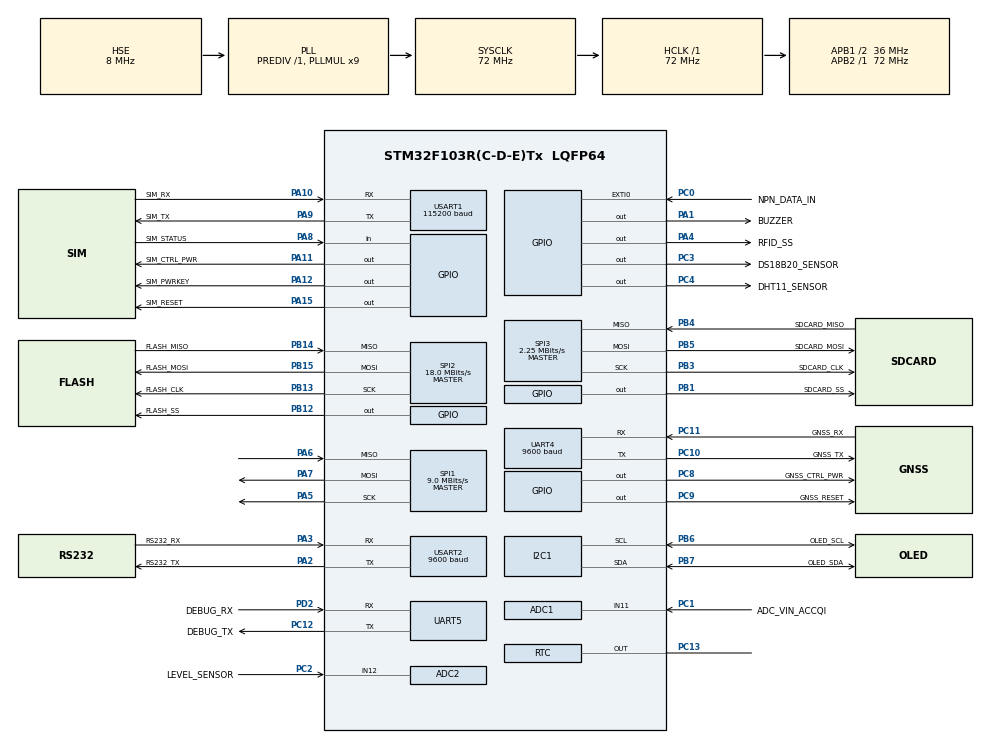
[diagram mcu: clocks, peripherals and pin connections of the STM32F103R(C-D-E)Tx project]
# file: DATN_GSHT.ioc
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ADC1.Channel-1\#ChannelRegularConversion=ADC_CHANNEL_11
ADC1.ContinuousConvMode=ENABLE
ADC1.NbrOfConversionFlag=1
ADC1.Rank-1\#ChannelRegularConversion=1
ADC1.SamplingTime-1\#ChannelRegularConversion=ADC_SAMPLETIME_28CYCLES_5
ADC1.master=1
ADC2.Channel-0\#ChannelRegularConversion=ADC_CHANNEL_12
ADC2.ContinuousConvMode=ENABLE
ADC2.NbrOfConversionFlag=1
ADC2.Rank-0\#ChannelRegularConversion=1
ADC2.SamplingTime-0\#ChannelRegularConversion=ADC_SAMPLETIME_41CYCLES_5
FATFS._MAX_SS=4096
FATFS._USE_LFN=1
I2C1.I2C_Mode=I2C_Fast
Mcu.Family=STM32F1
Mcu.Name=STM32F103R(C-D-E)Tx
Mcu.Package=LQFP64
NVIC.PriorityGroup=NVIC_PRIORITYGROUP_4
NVIC.RTC_Alarm_IRQn=true\:0\:0\:false\:false\:true\:true\:true\:true
NVIC.TIM2_IRQn=true\:0\:0\:false\:false\:true\:true\:true\:true
NVIC.TIM3_IRQn=true\:1\:0\:true\:false\:true\:true\:true\:true
NVIC.UART4_IRQn=true\:3\:0\:true\:false\:true\:true\:true\:true
NVIC.USART1_IRQn=true\:2\:0\:true\:false\:true\:true\:true\:true
NVIC.USART2_IRQn=true\:0\:0\:false\:false\:true\:true\:true\:true
PA0-WKUP.Mode=SYS_WakeUp0
PA0-WKUP.Signal=SYS_WKUP
PA1.GPIO_Label=BUZZER
PA1.Signal=GPIO_Output
PA10.GPIO_Label=SIM_RX
PA10.Mode=Asynchronous
PA10.Signal=USART1_RX
PA11.GPIO_Label=SIM_CTRL_PWR
PA11.PinState=GPIO_PIN_SET
PA11.Signal=GPIO_Output
PA12.GPIO_Label=SIM_PWRKEY
PA12.Signal=GPIO_Output
PA13.Mode=Serial_Wire
PA13.Signal=SYS_JTMS-SWDIO
PA14.Mode=Serial_Wire
PA14.Signal=SYS_JTCK-SWCLK
PA15.GPIO_Label=SIM_RESET
PA15.Signal=GPIO_Output
PA2.GPIO_Label=RS232_TX
PA2.Mode=Asynchronous
PA2.Signal=USART2_TX
PA3.GPIO_Label=RS232_RX
PA3.Mode=Asynchronous
PA3.Signal=USART2_RX
PA4.GPIO_Label=RFID_SS
PA4.PinState=GPIO_PIN_SET
PA4.Signal=GPIO_Output
PA5.GPIO_Mode=GPIO_MODE_AF_PP
PA5.GPIO_Speed=GPIO_SPEED_FREQ_HIGH
PA5.Mode=Full_Duplex_Master
PA5.Signal=SPI1_SCK
PA6.GPIO_Mode=GPIO_MODE_INPUT
PA6.GPIO_PuPd=GPIO_NOPULL
PA6.Mode=Full_Duplex_Master
PA6.Signal=SPI1_MISO
PA7.GPIO_Mode=GPIO_MODE_AF_PP
PA7.GPIO_Speed=GPIO_SPEED_FREQ_HIGH
PA7.Mode=Full_Duplex_Master
PA7.Signal=SPI1_MOSI
PA8.GPIO_Label=SIM_STATUS
PA8.Signal=GPIO_Input
PA9.GPIO_Label=SIM_TX
PA9.Mode=Asynchronous
PA9.Signal=USART1_TX
PB1.GPIO_Label=SDCARD_SS
PB1.Signal=GPIO_Output
PB12.GPIO_Label=FLASH_SS
PB12.Signal=GPIO_Output
PB13.GPIO_Label=FLASH_CLK
PB13.Mode=Full_Duplex_Master
PB13.Signal=SPI2_SCK
PB14.GPIO_Label=FLASH_MISO
PB14.Mode=Full_Duplex_Master
PB14.Signal=SPI2_MISO
PB15.GPIO_Label=FLASH_MOSI
PB15.Mode=Full_Duplex_Master
PB15.Signal=SPI2_MOSI
PB3.GPIO_Label=SDCARD_CLK
PB3.Mode=Full_Duplex_Master
PB3.Signal=SPI3_SCK
PB4.GPIO_Label=SDCARD_MISO
PB4.Mode=Full_Duplex_Master
PB4.Signal=SPI3_MISO
PB5.GPIO_Label=SDCARD_MOSI
PB5.Mode=Full_Duplex_Master
PB5.Signal=SPI3_MOSI
PB6.GPIO_Label=OLED_SCL
PB6.Mode=I2C
PB6.Signal=I2C1_SCL
PB7.GPIO_Label=OLED_SDA
PB7.Mode=I2C
PB7.Signal=I2C1_SDA
PC0.GPIO_Label=NPN_DATA_IN
PC0.GPIO_ModeDefaultEXTI=GPIO_MODE_IT_RISING_FALLING
PC0.Signal=GPXTI0
PC1.GPIO_Label=ADC_VIN_ACCQI
PC1.Signal=ADCx_IN11
PC10.GPIO_Label=GNSS_TX
PC10.Mode=Asynchronous
PC10.Signal=UART4_TX
PC11.GPIO_Label=GNSS_RX
PC11.Mode=Asynchronous
PC11.Signal=UART4_RX
PC12.GPIO_Label=DEBUG_TX
PC12.Mode=Asynchronous
PC12.Signal=UART5_TX
PC13-TAMPER-RTC.Mode=RTC OUT
PC13-TAMPER-RTC.Signal=RTC_OUT
PC14-OSC32_IN.Mode=LSE-External-Oscillator
PC14-OSC32_IN.Signal=RCC_OSC32_IN
PC15-OSC32_OUT.Mode=LSE-External-Oscillator
PC15-OSC32_OUT.Signal=RCC_OSC32_OUT
PC2.GPIO_Label=LEVEL_SENSOR
PC2.Signal=ADCx_IN12
PC3.GPIO_Label=DS18B20_SENSOR
PC3.Signal=GPIO_Output
PC4.GPIO_Label=DHT11_SENSOR
PC4.Signal=GPIO_Output
PC8.GPIO_Label=GNSS_CTRL_PWR
PC8.Signal=GPIO_Output
PC9.GPIO_Label=GNSS_RESET
PC9.Signal=GPIO_Output
PD0-OSC_IN.Mode=HSE-External-Oscillator
PD0-OSC_IN.Signal=RCC_OSC_IN
PD1-OSC_OUT.Mode=HSE-External-Oscillator
PD1-OSC_OUT.Signal=RCC_OSC_OUT
PD2.GPIO_Label=DEBUG_RX
PD2.Mode=Asynchronous
PD2.Signal=UART5_RX
ProjectManager.HeapSize=0x200
ProjectManager.StackSize=0x400
ProjectManager.TargetToolchain=Makefile
RCC.ADCPresc=RCC_ADCPCLK2_DIV6
RCC.AHBFreq_Value=72000000
RCC.APB1CLKDivider=RCC_HCLK_DIV2
RCC.APB1Freq_Value=36000000
RCC.APB1TimFreq_Value=72000000
RCC.APB2Freq_Value=72000000
RCC.APB2TimFreq_Value=72000000
RCC.HCLKFreq_Value=72000000
RCC.PLLMUL=RCC_PLL_MUL9
RCC.PLLSourceVirtual=RCC_PLLSOURCE_HSE
RCC.RTCClockSelection=RCC_RTCCLKSOURCE_LSE
RCC.SYSCLKFreq_VALUE=72000000
RCC.SYSCLKSource=RCC_SYSCLKSOURCE_PLLCLK
RCC.USBFreq_Value=72000000
RTC.Hours=10
RTC.Year=23
SH.ADCx_IN11.0=ADC1_IN11,IN11
SH.ADCx_IN12.0=ADC2_IN12,IN12
SPI1.BaudRatePrescaler=SPI_BAUDRATEPRESCALER_8
SPI1.CalculateBaudRate=9.0 MBits/s
SPI1.Direction=SPI_DIRECTION_2LINES
SPI1.Mode=SPI_MODE_MASTER
SPI1.VirtualType=VM_MASTER
SPI2.CalculateBaudRate=18.0 MBits/s
SPI2.Direction=SPI_DIRECTION_2LINES
SPI2.Mode=SPI_MODE_MASTER
SPI2.VirtualType=VM_MASTER
SPI3.BaudRatePrescaler=SPI_BAUDRATEPRESCALER_16
SPI3.CalculateBaudRate=2.25 MBits/s
SPI3.Direction=SPI_DIRECTION_2LINES
SPI3.Mode=SPI_MODE_MASTER
SPI3.VirtualType=VM_MASTER
TIM1.Prescaler=72-1
TIM2.Period=5000
TIM2.Prescaler=7200-1
TIM3.Period=60000
TIM3.Prescaler=7200-1
UART4.BaudRate=9600
UART4.VirtualMode=Asynchronous
UART5.VirtualMode=Asynchronous
USART1.BaudRate=115200
USART1.VirtualMode=VM_ASYNC
USART2.BaudRate=9600
USART2.VirtualMode=VM_ASYNC
VP_FATFS_VS_Generic.Mode=User_defined
VP_RTC_VS_RTC_Activate.Mode=RTC_Enabled
VP_RTC_VS_RTC_Calendar.Mode=RTC_Calendar
VP_TIM1_VS_ClockSourceINT.Mode=Internal
VP_TIM2_VS_ClockSourceINT.Mode=Internal
VP_TIM3_VS_ClockSourceINT.Mode=Internal
board=custom

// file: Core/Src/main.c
/* USER CODE BEGIN Header */
/**
  ******************************************************************************
  * @file           : main.c
  * @brief          : Main program body
  ******************************************************************************
  * @attention
  *
  * Copyright (c) 2023 STMicroelectronics.
  * All rights reserved.
  *
  * This software is licensed under terms that can be found in the LICENSE file
  * in the root directory of this software component.
  * If no LICENSE file comes with this software, it is provided AS-IS.
  *
  ******************************************************************************
  SIM   ------> UART1 115200
  RS232 ------> UART2 9600
  GNSS  ------> UART4 9600
  DEBUG ------> UART5 115200

  RFID  ------> SPI1  18Mb/s
  SDCAD ------> SPI3
  FLASH ------> SPI2

  SENSOR -----> TIM1
  RFID      --> TIM2
  Task     ---> TIM3
  */
/* USER CODE END Header */
#include "main.h"
#include "adc.h"
#include "fatfs.h"
#include "i2c.h"
#include "rtc.h"
#include "spi.h"
#include "tim.h"
#include "usart.h"
#include "gpio.h"

/* USER CODE BEGIN Includes */
#include "sensors.h"
#include "rc522.h"
#include "debug.h"
#include "sim4g_lte.h"
#include "gnss.h"
#include "fatfs_sd.h"
#include "mqtt.h"
#include "flash.h"
#include "ssd1306.h"
#include "bitmap.h"

#include <stdio.h>
#include <stdint.h>
#include <string.h>
/* USER CODE END Includes */

/* USER CODE BEGIN PV */
/************************************RFID*********************/
uint8_t CardID[5];
char szBuff[20];
volatile bool waiting4LogOut = false;
volatile bool Logout = false;
enum check
{
  CHANGE,
  NOT_CHANGE
};

volatile int npn_flag_check = NOT_CHANGE;
int npn_count = 0;

enum State
{
  Stop,
  Move
};

int Vehical_State;

float current_time, last_time;
float Vehical_veloc;

/************************************RTC************************/
RTC_TimeTypeDef current_sTime = {0};
RTC_DateTypeDef current_sDate = {0};
RTC_TimeTypeDef last_sTime = {0};
RTC_DateTypeDef last_sDate = {0};
RTC_AlarmTypeDef sAlarm = {0};
uint8_t sencond = 0;
uint8_t minute = 0;
uint8_t hour = 0;
uint8_t date = 0;
uint8_t day = 0;
uint8_t month = 0;
uint8_t year = 0;
char time_buff[20];
char date_buff[20];
volatile int check = 0;

uint16_t totalMinute_OperateTime;
int time_hour;
int time_minute;
char totalMinute_OperateTime_buff[30] = {0};

int numCheck_time = 0;
char utctime_buff[10]={0};
/*********************************** GPS************************/
#define GPS 0
char *GPSResponse;
char latData[15] = {0};
char longData[15] = {0};
char simMessage[200] = {0};

char l70Data1;
char gnss_str[100] = {0};
extern l70Data_t l70DataAfterHadler;

/************************************* SDCARD*******************/
#define SDCard 0
FATFS fs;                      // file system
FIL fil;                       // file
FRESULT fresult;               // store the result
char SD_buffer_w[1024] = {0};  // write data
char SD_buffer_r[10224] = {0}; // read data
char SD_file_name[50] = {0};
UINT br, bw; // file read.write count

FATFS *pfs;
DWORD fre_clust;
uint32_t total, free_space;
char SD_read[256];

/**************************************SIM 4G***************************/
#define SIM 0
// typedef struct
// {
//   char online[2];
//   char offline[2];
//   char sleep[2];
//   char deviceID[20];
//   char license[20];
//   char name[50];
//   char phone[20];
//   char signal[20];
// } dataPubTB_t;
typedef struct
{
  char online[2];
  char offline[2];
  char sleep[2];
  char signal[5];
} stateDevice_t;
stateDevice_t stateDevice;
char Json_Data[500] = {0};
/**************************************RFID*****************************/
uint8_t CardID[5] = {0};
char Card_Startbuff[20] = {0};
char Card_Endbuff[20] = {0};
char *id_ref = "";
typedef struct
{
  char ID[20];      // id     64C43951
  char name[20];    // ABC
  char license[10]; // A1 A2...
  char phoneNum[20];
  char deviceID[20]; // plates license
} infoRFID_t;
infoRFID_t infoUser, infoUser1, infoUser2;

/***************************************TASK**************************/
enum
{
  Task_Sensors,
  Task_GNSS,
  Task_SIM,
  Task_Store,
  Task_Display,
  Task_LogoutOrRS232
};
volatile int Type_Task = Task_Display;
typedef struct
{
  volatile bool TaskSensors;
  volatile bool TaskGNSS;
  volatile bool TaskSIM;
  volatile bool TaskStore;
  volatile bool TaskDisplay;
} TaskPerform_t;

TaskPerform_t Taskperform = {
    .TaskSensors = false,
    .TaskGNSS = false,
    .TaskSIM = false,
    .TaskStore = false,
    .TaskDisplay = false,
};
#define SWITCH_CASE 1
#define IF_SIUTATION 0
enum
{
  Normal_Mode,
  IRQ_Mode
};
volatile int Task_Mode = Normal_Mode;
/*****************************************SENSOR*************************/
int ds18_temp;
float dht_temp;
float dht_hum;

typedef struct
{
  char ds18_buff[5];
  char dhtTemp_buff[50];
  char dhtHum_buff[50];
  char fuel[5];
} sensors_t;
sensors_t sensors;
/*******************************************FLASH***********************/
#define FLASH_ADDRESS_BASE 0x00000000
uint8_t flash_Readbuff[1024] = {0};
/******************************************RS232************************/
char rs232_data;
char rs232_buff[50] = {0};
int rs232_index = 0;
volatile bool rs232_flag = false;
/* USER CODE END PV */

void SystemClock_Config(void);

/* USER CODE BEGIN 0 */
void rs232_logdata(char *str)
{
  HAL_UART_Transmit(&huart2, (uint8_t *)str, strlen(str), 5000);
}

void buzzer(long time)
{
  HAL_GPIO_WritePin(BUZZER_GPIO_Port, BUZZER_Pin, GPIO_PIN_SET);
  HAL_Delay(time);
  HAL_GPIO_WritePin(BUZZER_GPIO_Port, BUZZER_Pin, GPIO_PIN_RESET);
}

void set_alarm(int intervalHour)
{
  RTC_AlarmTypeDef sAlarm = {0};
  sAlarm.AlarmTime.Hours = current_sTime.Hours + intervalHour;
  sAlarm.AlarmTime.Minutes = current_sTime.Minutes;
  sAlarm.AlarmTime.Seconds = current_sTime.Seconds;
  sAlarm.Alarm = RTC_ALARM_A;
  if (HAL_RTC_SetAlarm_IT(&hrtc, &sAlarm, RTC_FORMAT_BIN) != HAL_OK)
  {
    Error_Handler();
  }
}

void set_timer(long time)
{
  TIM3->CNT = 60000 - time * 10;
}

void HAL_RTC_AlarmAEventCallback(RTC_HandleTypeDef *hrtc)
{
  // warning and SMS
  buzzer(5000);
  sim7672_sendSMS(infoUser.phoneNum, "Lai xe qua thoi gian cho phep, xin dung lai");
}

void HAL_UART_RxCpltCallback(UART_HandleTypeDef *huart)
{
  // for SIM
  if (huart == &huart1)
  {
    sim7672_callback();
  }
  // for GPS
  if (huart == &huart4)
  {
    l70_callback();
  }
  // for RS232
  if (huart == &huart2)
  {
    Type_Task = Task_LogoutOrRS232;
    rs232_buff[rs232_index] = rs232_data;
    if (strstr(rs232_buff, "Trichxuatdulieu") != NULL)
    {
      rs232_logdata("OK");
      rs232_flag = true;
    }
    rs232_index++;
    HAL_UART_Receive_IT(&huart2, (uint8_t *)&rs232_data, 1);
  }
}

void HAL_GPIO_EXTI_Callback(uint16_t GPIO_Pin)
{
  // reset timer 2
  HAL_TIM_Base_Stop(&htim2);
  TIM2->CNT = 0;

  current_time = HAL_GetTick();

  npn_flag_check = CHANGE;
  Vehical_State = Move;
  npn_count++;
  if (npn_count == 20)
  {
    float time_cycle = current_time - last_time;
    Vehical_veloc = (1.0 * 3000) / (time_cycle);
    // tinh toan van toc
  }
  // start timer2
  HAL_TIM_Base_Start_IT(&htim2);
}

void HAL_TIM_PeriodElapsedCallback(TIM_HandleTypeDef *htim)
{
  if (htim == &htim2)
  {
    if (rc522_check(CardID) == RC522_OK && waiting4LogOut == true)
    {
      waiting4LogOut = false;
      Type_Task = Task_LogoutOrRS232;
      Logout = true;
    }
  }
  if (htim == &htim3)
  {
    if (Type_Task == Task_Sensors)
    {
      Taskperform.TaskSensors = false;
      Type_Task = Task_GNSS;
      set_timer(200);
      return;
    }
    if (Type_Task == Task_GNSS)
    {
      Taskperform.TaskGNSS = false;
      Type_Task = Task_SIM;
      set_timer(1200);
      return;
    }
    if (Type_Task == Task_SIM)
    {
      Taskperform.TaskSIM = false;
      Type_Task = Task_Store;
      set_timer(200);
      return;
    }
    if (Type_Task == Task_Store)
    {
      Taskperform.TaskStore = false;
      Type_Task = Task_Display;
      set_timer(200);
      return;
    }
    if (Type_Task == Task_Display)
    {
      Taskperform.TaskDisplay = false;
      Type_Task = Task_Sensors;
      set_timer(100);
      return;
    }
  }
}

/* USER CODE END 0 */

int main(void)
{

  /* MCU Configuration--------------------------------------------------------*/

  /* Reset of all peripherals, Initializes the Flash interface and the Systick. */
  HAL_Init();

  /* Configure the system clock */
  SystemClock_Config();

  /* Initialize all configured peripherals */
  MX_GPIO_Init();
  MX_ADC1_Init();
  MX_SPI1_Init();
  MX_ADC2_Init();
  MX_TIM1_Init();
  MX_UART5_Init();
  MX_I2C1_Init();
  MX_SPI2_Init();
  MX_SPI3_Init();
  MX_UART4_Init();
  MX_USART1_UART_Init();
  MX_USART2_UART_Init();
  MX_TIM2_Init();
  MX_TIM3_Init();
  MX_RTC_Init();
  MX_FATFS_Init();
  /* USER CODE BEGIN 2 */
  log_data("\nGSHT START\n");
  // init all
  rc522_init();
  log_data("RFID init successfull\n");
  HAL_Delay(10);

  l70_init();
  log_data("GNSS init successfull\n");
  HAL_Delay(500);

  // sim7672_pwrOn();
  // HAL_Delay(4000);
   sim7672_init();
   sim7672_check_signalStrength();
  //  mqtt_disconnectServer();
  //  HAL_Delay(100);
   mqtt_connectServer();
   HAL_Delay(100);

  // w25q32_init();
  // log_data("FLASH init successfull\n");

  SSD1306_Init();

  SSD1306_Clear();
  SSD1306_DrawBitmap(0, 0, bitmap, 128, 64, 1);
  SSD1306_GotoXY(75, 2);
  SSD1306_Puts("2:53", &Font_7x10, 1);
  SSD1306_GotoXY(30, 16);
  SSD1306_Puts("1/1/2023", &Font_7x10, 1);
  SSD1306_GotoXY(1, 28);
  SSD1306_Puts("Lon:            E", &Font_7x10, 1);
  SSD1306_GotoXY(1, 40);
  SSD1306_Puts("Lat:           N", &Font_7x10, 1);
  SSD1306_GotoXY(1, 52);
  SSD1306_Puts("Speed:      m/s", &Font_7x10, 1);
  SSD1306_UpdateScreen();

  fresult = f_mount(&fs, "/", 1);
  if (fresult != FR_OK)
    log_data("ERROR!!! in mounting SD CARD...\n\n");
  else
    log_data("SD CARD mounted successfully...\n\n");
  // Read data FLASH
  strcpy(stateDevice.online, "1");
  strcpy(stateDevice.offline, "0");
  strcpy(stateDevice.sleep, "0");
  strcpy(stateDevice.signal, "OK");

  strcpy(infoUser1.ID, "64C43951");
  strcpy(infoUser1.name, "Nguyen_Huy_Hoang");
  strcpy(infoUser1.phoneNum, "VIE_0987035442");
  strcpy(infoUser1.license, "30N-1234");

  strcpy(infoUser2.ID, "1243");
  strcpy(infoUser2.name, "Nguyen_Van_A");
  strcpy(infoUser2.phoneNum, "VIE_0123562571");
  strcpy(infoUser2.license, "30N-3611");

  strcpy(infoUser.deviceID, "GSHT_ID01");
  // READ TAG RFID
  while (strcmp(infoUser1.ID, Card_Startbuff) != 0 || strcmp(infoUser2.ID, Card_Startbuff) != 0)
  {
    // log_data("wait\n");
    if (rc522_check(CardID) == RC522_OK)
    {
      sprintf(Card_Startbuff, "%02X%02X%02X%02X", CardID[0], CardID[1], CardID[2], CardID[3]);
      log_data(Card_Startbuff);
      if (strcmp(infoUser1.ID, Card_Startbuff) == 0)
      {
        waiting4LogOut = true;
        strcpy(infoUser.ID, infoUser1.ID);
        strcpy(infoUser.name, infoUser1.name);
        strcpy(infoUser.phoneNum, infoUser1.phoneNum);
        strcpy(infoUser.license, infoUser1.license);
        buzzer(200);
        // HAL_Delay(200);
        // buzzer(200);
        log_data("ID1 TAG valid\n");
      }
      if (strcmp(infoUser2.ID, Card_Startbuff) == 0)
      {
        waiting4LogOut = true;
        strcpy(infoUser.ID, infoUser2.ID);
        strcpy(infoUser.name, infoUser2.name);
        strcpy(infoUser.phoneNum, infoUser2.phoneNum);
        strcpy(infoUser.license, infoUser2.license);
        buzzer(200);
        // HAL_Delay(200);
        // buzzer(200);
        log_data("ID2 TAG valid\n");
      }
      else
      {
        // waiting4LogOut = true;
        buzzer(200);
        HAL_Delay(200);
        buzzer(200);
        log_data("ID TAG invalid\n");
        break;
      }
    }
  }
  // collect time at having RFID TAG
  HAL_RTC_GetTime(&hrtc, &current_sTime, RTC_FORMAT_BIN);
  HAL_RTC_GetDate(&hrtc, &current_sDate, RTC_FORMAT_BIN);
  set_alarm(4);
  sprintf(time_buff, "%d:%d:%d", current_sTime.Hours, current_sTime.Minutes, current_sTime.Seconds);
  log_data(time_buff);
  log_data("\n");
  sprintf(date_buff, "%d/%d/%d", current_sDate.Date, current_sDate.Month, current_sDate.Year);
  log_data(date_buff);
  log_data("\n");
  HAL_RTC_GetTime(&hrtc, &last_sTime, RTC_FORMAT_BIN);
  HAL_RTC_GetDate(&hrtc, &last_sDate, RTC_FORMAT_BIN);
  totalMinute_OperateTime = (60 * last_sTime.Hours + last_sTime.Minutes) - (60 * current_sTime.Hours + current_sTime.Minutes);
  time_hour = totalMinute_OperateTime / 60;
  time_minute = totalMinute_OperateTime - time_hour * 60;
  sprintf(totalMinute_OperateTime_buff, "%dh%d", time_hour, time_minute);
  // wait for gps
  do
  {
    GPSResponse = l70_receiveGPS();
    l70_handleGPS(GPSResponse);
    HAL_Delay(1000);
  } while (strstr(l70DataAfterHadler.latitude, ".000000") != NULL && strstr(l70DataAfterHadler.longitude, ".000000") != NULL);
  log_data("\nGSHT Start\n");
  // Check ID tag in Flash

  set_timer(500);
  HAL_TIM_Base_Start_IT(&htim3); // Task
  HAL_TIM_Base_Start(&htim1);    // Sensors
  HAL_TIM_Base_Start_IT(&htim2); // RFID
  // set_timer(1000);
  HAL_UART_Receive_IT(&huart2, (uint8_t *)&rs232_data, 1);
  /* USER CODE END 2 */

  /* Infinite loop */
  while (1)
  {

    /* USER CODE BEGIN 3 */
#if SWITCH_CASE
    switch (Type_Task)
    {
    case Task_Sensors:
      if (!Taskperform.TaskSensors)
      {
        log_data("TAKS SENSORS\n");
        Taskperform.TaskSensors = true;
        ds18_temp = (int)DS18B20_Result();
        // DHT11_Result(dht_temp, dht_hum);
        sprintf(sensors.ds18_buff, "%d", ds18_temp);
        // sprintf(sensors.dhtTemp_buff,"%d",(int)dht_temp);
        // sprintf(sensors.dhtHum_buff,"%d",(int)dht_hum);
        // ftoa(ds18_temp, ds18_buff, 1);
        //  w25q32_pageWrite(0x00000000,ds18_buff);
        //  ftoa(dht_temp, dhtTemp_buff, 1);
        //  ftoa(dht_hum, dhtHum_buff, 1);
        strcpy(sensors.dhtTemp_buff, "20");
        strcpy(sensors.dhtHum_buff, "80");
        // log_data("Nhiet do va do am moi truong: ");
        // log_data(sensors.dhtTemp_buff);
        // log_data("\n");
        // log_data(sensors.dhtHum_buff);
        // log_data("\n");
        strcpy(sensors.fuel, "80");
        log_data("Nhiet do thiet bi: ");
        log_data(sensors.ds18_buff);
        log_data("\n");
      }
      break;
    case Task_GNSS:
      if (!Taskperform.TaskGNSS)
      {
        log_data("TAKS GNSS\n");
        Taskperform.TaskGNSS = true;
        GPSResponse = l70_receiveGPS();
        l70_handleGPS(GPSResponse);
      }
      break;
    case Task_SIM:
      if (!Taskperform.TaskSIM)
      {
        log_data("TAKS SIM\n");
        Taskperform.TaskSIM = true;
        memset(Json_Data,'\0',sizeof(Json_Data));
        sprintf(totalMinute_OperateTime_buff, "%dh%d", time_hour, time_minute);
        sprintf(Json_Data, "{\"online\":%s,\"offline\":%s,\"sleep\":%s,\"deviceID\":%s,\"license\":%s,\"name\":%s,\"phone\":%s,\"signal\":%s,\"latitude\":%s,\"longitude\":%s,\"ds18b20\":%s,\"dhttemp\":%s,\"dhthum\":%s,\"fuel\":%s,\"timetotal\":%s,\"speed\":%s}",
                stateDevice.online, stateDevice.offline, stateDevice.sleep, infoUser.deviceID, infoUser.license, infoUser.name, infoUser.phoneNum,
                stateDevice.signal, l70DataAfterHadler.latitude, l70DataAfterHadler.longitude, sensors.ds18_buff, sensors.dhtTemp_buff,
                sensors.dhtHum_buff, sensors.fuel,totalMinute_OperateTime_buff,l70DataAfterHadler.Speed);
        mqtt_pub(TOPIC, Json_Data);
        numCheck_time++;
        if (numCheck_time == 10)
        {
          numCheck_time = 0;
          HAL_RTC_GetTime(&hrtc, &last_sTime, RTC_FORMAT_BIN);
          HAL_RTC_GetDate(&hrtc, &last_sDate, RTC_FORMAT_BIN);
          totalMinute_OperateTime = (60 * last_sTime.Hours + last_sTime.Minutes) - (60 * current_sTime.Hours + current_sTime.Minutes);
          time_hour = totalMinute_OperateTime / 60;
          time_minute = totalMinute_OperateTime - time_hour * 60;
          sprintf(totalMinute_OperateTime_buff, "%dh%d", time_hour, time_minute);
          log_data("\nTotal time: ");
          log_data(totalMinute_OperateTime_buff);
          log_data("\n");
        }
      }
      break;
    case Task_Store:
      if (!Taskperform.TaskStore)
      {
        log_data("TASK STORE\n");
        Taskperform.TaskStore = true;

        fresult = f_open(&fil, "GSHT1.txt", FA_WRITE);
        if (fresult != FR_OK)
          log_data("open error...\n\n");
        else
          log_data("open successfully...\n\n");

        f_lseek(&fil, f_size(&fil));

        f_puts(l70DataAfterHadler.utcTime, &fil);
        f_puts("\t", &fil);
        f_puts(Card_Startbuff, &fil);
        f_puts("\t", &fil);
        f_puts(l70DataAfterHadler.latitude, &fil);
        f_puts("\t", &fil);
        f_puts(l70DataAfterHadler.longitude, &fil);
        f_puts("\t", &fil);
        f_puts(l70DataAfterHadler.Speed, &fil);
        f_puts("\t", &fil);
        f_puts(sensors.ds18_buff, &fil);
        f_puts("\n", &fil);

        fresult = f_close(&fil);
      }
      break;
    case Task_Display:
      if (!Taskperform.TaskDisplay)
      {
        log_data("TASK DISPLAY\n");
        Taskperform.TaskDisplay = true;
        memset(utctime_buff,'\0',sizeof(utctime_buff));
        strncpy(utctime_buff,l70DataAfterHadler.utcTime,5);
        SSD1306_GotoXY(75, 2);
        SSD1306_Puts(utctime_buff, &Font_7x10, 1);
        SSD1306_GotoXY(30, 16);
        SSD1306_Puts(l70DataAfterHadler.Date, &Font_7x10, 1);
        SSD1306_GotoXY(30, 28);
        SSD1306_Puts(l70DataAfterHadler.longitude, &Font_7x10, 1);
        SSD1306_GotoXY(30, 40);
        SSD1306_Puts(l70DataAfterHadler.latitude, &Font_7x10, 1);
        SSD1306_GotoXY(45, 52);
        SSD1306_Puts(l70DataAfterHadler.Speed, &Font_7x10, 1);
        SSD1306_UpdateScreen();
      }
      break;
    case Task_LogoutOrRS232:
      // rs232_logdata("Task Logout or RS232\n");
      if (Logout)
      {
        Logout = false;
        sprintf(Card_Endbuff, "%02X%02X%02X%02X", CardID[0], CardID[1], CardID[2], CardID[3]);
        if (strcmp(Card_Startbuff, Card_Endbuff) != 0)
        {
          log_data("Tag invalid\n");
        }
        else
        {
          log_data("Tag valid, End of schedual\n");
          // write flash totaltime
          mqtt_pub(TOPIC, "{\"signal\":LOGOUT}");
          HAL_RTC_GetTime(&hrtc, &last_sTime, RTC_FORMAT_BIN);
          HAL_RTC_GetDate(&hrtc, &last_sDate, RTC_FORMAT_BIN);
          totalMinute_OperateTime = (60 * last_sTime.Hours + last_sTime.Minutes) - (60 * current_sTime.Hours + current_sTime.Minutes);
          set_alarm(10);
          buzzer(200);
          HAL_Delay(200);
          buzzer(200);
        }
        // sleep
        HAL_Delay(1000);
        log_data("Device start sleep\n");
      }
      if (rs232_flag)
      {
        rs232_flag = false;
        rs232_logdata("READ\n");
        if (strstr(rs232_buff, "Trichxuatdulieu") != NULL)
        {
          fresult = f_open(&fil, "GSHT1.txt", FA_READ);
          if (fresult != FR_OK)
            log_data("open error...\n\n");
          else
            log_data("open successfully...\n\n");
          while (f_gets(SD_read, sizeof(SD_read), &fil) != NULL)
          {
            rs232_logdata(SD_read);
          }
        }
      }
      break;
    }
    HAL_Delay(100);
#endif
    // HAL_Delay(100);
  }
  /* USER CODE END 3 */
}

void SystemClock_Config(void)
{
  RCC_OscInitTypeDef RCC_OscInitStruct = {0};
  RCC_ClkInitTypeDef RCC_ClkInitStruct = {0};
  RCC_PeriphCLKInitTypeDef PeriphClkInit = {0};

  /** Initializes the RCC Oscillators according to the specified parameters
   * in the RCC_OscInitTypeDef structure.
   */
  RCC_OscInitStruct.OscillatorType = RCC_OSCILLATORTYPE_HSE | RCC_OSCILLATORTYPE_LSE;
  RCC_OscInitStruct.HSEState = RCC_HSE_ON;
  RCC_OscInitStruct.HSEPredivValue = RCC_HSE_PREDIV_DIV1;
  RCC_OscInitStruct.LSEState = RCC_LSE_ON;
  RCC_OscInitStruct.HSIState = RCC_HSI_ON;
  RCC_OscInitStruct.PLL.PLLState = RCC_PLL_ON;
  RCC_OscInitStruct.PLL.PLLSource = RCC_PLLSOURCE_HSE;
  RCC_OscInitStruct.PLL.PLLMUL = RCC_PLL_MUL9;
  if (HAL_RCC_OscConfig(&RCC_OscInitStruct) != HAL_OK)
  {
    Error_Handler();
  }

  /** Initializes the CPU, AHB and APB buses clocks
   */
  RCC_ClkInitStruct.ClockType = RCC_CLOCKTYPE_HCLK | RCC_CLOCKTYPE_SYSCLK | RCC_CLOCKTYPE_PCLK1 | RCC_CLOCKTYPE_PCLK2;
  RCC_ClkInitStruct.SYSCLKSource = RCC_SYSCLKSOURCE_PLLCLK;
  RCC_ClkInitStruct.AHBCLKDivider = RCC_SYSCLK_DIV1;
  RCC_ClkInitStruct.APB1CLKDivider = RCC_HCLK_DIV2;
  RCC_ClkInitStruct.APB2CLKDivider = RCC_HCLK_DIV1;

  if (HAL_RCC_ClockConfig(&RCC_ClkInitStruct, FLASH_LATENCY_2) != HAL_OK)
  {
    Error_Handler();
  }
  PeriphClkInit.PeriphClockSelection = RCC_PERIPHCLK_RTC | RCC_PERIPHCLK_ADC;
  PeriphClkInit.RTCClockSelection = RCC_RTCCLKSOURCE_LSE;
  PeriphClkInit.AdcClockSelection = RCC_ADCPCLK2_DIV6;
  if (HAL_RCCEx_PeriphCLKConfig(&PeriphClkInit) != HAL_OK)
  {
    Error_Handler();
  }
}

/* USER CODE BEGIN 4 */
#if IF_SIUTATION
if (Type_Task == Task_Sensors && !Taskperform.TaskSensors)
{
  log_data("TAKS SENSORS\n");
  Taskperform.TaskSensors = true;
  log_data("TAKS SENSORS\n");
  Taskperform.TaskSensors = true;
  ds18_temp = (int)DS18B20_Result();
  // DHT11_Result(dht_temp, dht_hum);
  sprintf(ds18_buff, "%d", ds18_temp);
  // ftoa(ds18_temp, ds18_buff, 1);
  //  w25q32_pageWrite(0x00000000,ds18_buff);
  //  ftoa(dht_temp, dhtTemp_buff, 1);
  //  ftoa(dht_hum, dhtHum_buff, 1);
  log_data("Nhiet do thiet bi: ");
  log_data(ds18_buff);
  log_data("\n");
}
if (Type_Task == Task_GNSS && !Taskperform.TaskGNSS)
{
  log_data("TAKS GNSS\n");
  Taskperform.TaskGNSS = true;
  GPSResponse = l70_receiveGPS();
  l70_handleGPS(GPSResponse);
}
if (Type_Task == Task_SIM && !Taskperform.TaskSIM)
{

  log_data("TAKS SIM\n");
  Taskperform.TaskSIM = true;
  // mqtt_pub(TOPIC_TEST, Card_Startbuff);
  // mqtt_pub(TOPIC_TEST, ds18_buff);
  // // mqtt_pub(TOPIC_TEST, dhtHum_buff);
  // // mqtt_pub(TOPIC_TEST, dhtTemp_buff);
  // mqtt_pub(TOPIC_TEST, l70DataAfterHadler.longitude);
  // mqtt_pub(TOPIC_TEST, l70DataAfterHadler.latitude);
  // numCheck_time++;
  // if (numCheck_time == 10)
  // {
  //   numCheck_time = 0;
  //   HAL_RTC_GetTime(&hrtc, &last_sTime, RTC_FORMAT_BIN);
  //   HAL_RTC_GetDate(&hrtc, &last_sDate, RTC_FORMAT_BIN);
  //   totalMinute_OperateTime = (60 * last_sTime.Hours + last_sTime.Minutes) - (60 * current_sTime.Hours + current_sTime.Minutes);
  //   sprintf(totalMinute_OperateTime_buff, "totalTime: %d", totalMinute_OperateTime);
  //   mqtt_pub(TOPIC_TEST, totalMinute_OperateTime_buff);
  // }
}
if (Type_Task == Task_Store && !Taskperform.TaskStore)
{
  log_data("TASK STORE\n");
  Taskperform.TaskStore = true;

  fresult = f_open(&fil, "GSHT1.txt", FA_WRITE);
  if (fresult != FR_OK)
    log_data("open error...\n\n");
  else
    log_data("open successfully...\n\n");

  f_lseek(&fil, f_size(&fil));

  f_puts(l70DataAfterHadler.utcTime, &fil);
  f_puts("\t", &fil);
  f_puts(Card_Startbuff, &fil);
  f_puts("\t", &fil);
  f_puts(l70DataAfterHadler.latitude, &fil);
  f_puts("\t", &fil);
  f_puts(l70DataAfterHadler.longitude, &fil);
  f_puts("\t", &fil);
  f_puts(l70DataAfterHadler.Speed, &fil);
  f_puts("\t", &fil);
  f_puts(ds18_buff, &fil);
  f_puts("\n", &fil);

  fresult = f_close(&fil);
}
if (Type_Task == Task_Display && !Taskperform.TaskDisplay)
{
  log_data("TASK DISPLAY\n");
  Taskperform.TaskDisplay = true;
}
HAL_Delay(100);
#endif
// #if SIM
//   // sim7672_pwrOn();
//   // HAL_Delay(5000);
//   sim7672_init();
//   sim7672_check_signalStrength();
//   HAL_Delay(500);
//   // mqtt_disconnectServer();
//   HAL_Delay(1000);
//   mqtt_connectServer();
//   mqtt_pub("test1z", "123456789");
//   HAL_Delay(500);
//   mqtt_sub("test1z");
// #endif

// #if GPS
//   sim7672_pwrOff();
//   l70_init();
//   HAL_Delay(1000);
// #endif

// #if SDCard

//   fresult = f_mount(&fs, "/", 1);
//   if (fresult != FR_OK)
//     log_data("ERROR!!! in mounting SD CARD...\n\n");
//   else
//     log_data("*******************\nSD CARD mounted successfully...\n\n");

//   /* ********************************Create second file with read write access and open it */
//   fresult = f_open(&fil, "file2.txt", FA_WRITE);
//   if (fresult != FR_OK)
//     log_data("open error...\n\n");
//   else
//     log_data("open successfully...\n\n");
//   // f_lseek(&fil, f_size(&fil));
//   f_puts("This data is from the FILE1.txt. And it was written using ...f_puts... \nthis full function", &fil);
//   // f_puts("\nThis is updated data and it should be in the end",&fil);
//   fresult = f_close(&fil);
//   if (fresult != FR_OK)
//     log_data("write error...\n\n");
//   else
//     log_data("write successfully...\n\n");
//   log_data("File2.txt created and data is written\n");
//   // clearing buffer to show that result obtained is from the file

//   /* ***********************************Open second file to read */
//   fresult = f_open(&fil, "file2.txt", FA_READ);
//   if (fresult != FR_OK)
//     log_data("open error...\n\n");
//   else
//     log_data("open successfully...\n\n");

//   /* Read data from the file
//    * Please see the function details for the arguments */
//   // f_gets(buffer, f_size(&fil), &fil);
//   while (f_gets(buffer, sizeof(buffer), &fil) != NULL)
//   {
//     // Xử lý dữ liệu theo nhu cầu của bạn, ví dụ: gửi qua UART
//     log_data(buffer);
//   }
//   // f_read (&fil, buffer, f_size(&fil), &br);
//   log_data("data: ");
//   log_data(buffer);
//   log_data("\n\n");

//   /* Close file */
//   f_close(&fil);
// // HAL_GPIO_WritePin(BUZZER_GPIO_Port, BUZZER_Pin, GPIO_PIN_SET);
// // HAL_Delay(1000);
// // HAL_GPIO_WritePin(BUZZER_GPIO_Port,BUZZER_Pin,GPIO_PIN_RESET);
// #endif
/* USER CODE END 4 */

void Error_Handler(void)
{
  __disable_irq();
  while (1)
  {
  }
}
